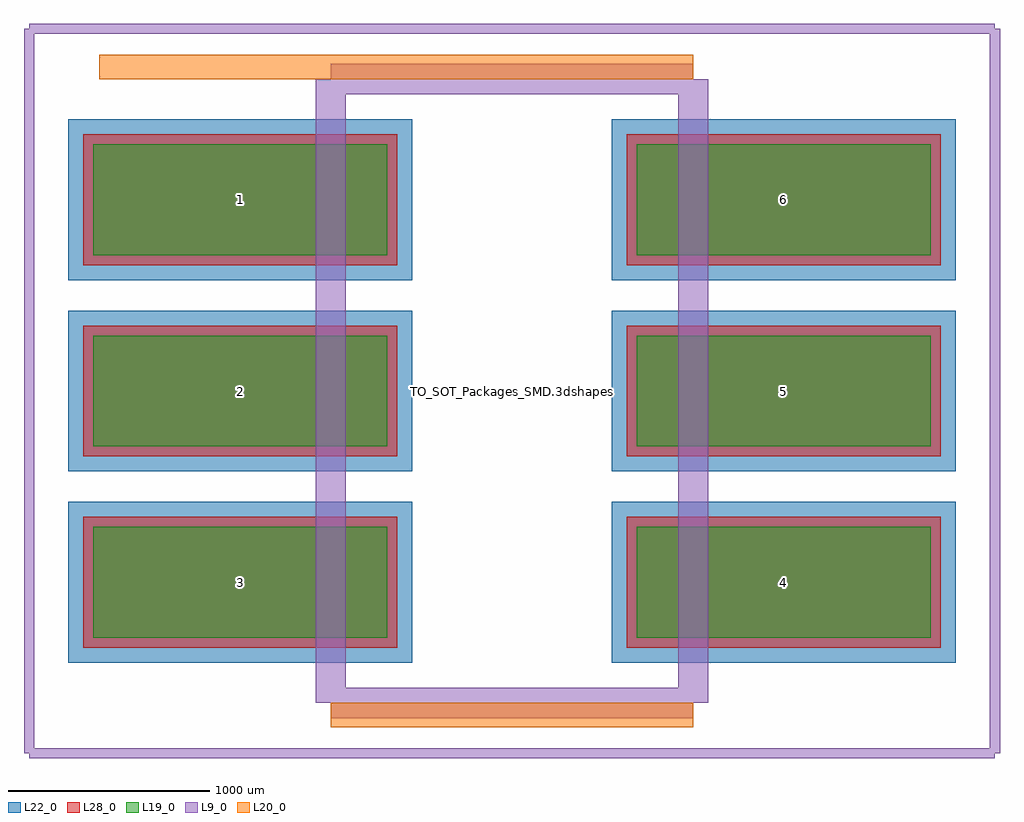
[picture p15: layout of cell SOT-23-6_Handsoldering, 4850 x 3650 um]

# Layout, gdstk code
import gdstk
lib = gdstk.Library(unit=1e-6, precision=1e-09)
def R(c, l, rs):  # rectangles x0, y0, x1, y1
    for r in rs: c.add(gdstk.rectangle(r[:2], r[2:], *l))
def A(c, l, x, y, w, h, nx, ny, dx, dy):  # array of equal rectangles
    R(c, l, [(x+i*dx, y+j*dy, x+i*dx+w, y+j*dy+h) for i in range(nx) for j in range(ny)])
L9_0 = (9, 0)
L19_0 = (19, 0)
L20_0 = (20, 0)
L22_0 = (22, 0)
L28_0 = (28, 0)

sot_23_6_handsoldering = lib.new_cell('SOT-23-6_Handsoldering')
A(sot_23_6_handsoldering, L19_0, -2080, -1225, 1460, 550, 1, 3, 0, 950)
A(sot_23_6_handsoldering, L19_0, 620, -1225, 1460, 550, 1, 3, 0, 950)
A(sot_23_6_handsoldering, L22_0, -2205, -1350, 1710, 800, 1, 3, 0, 950)
A(sot_23_6_handsoldering, L22_0, 495, -1350, 1710, 800, 1, 3, 0, 950)
A(sot_23_6_handsoldering, L28_0, -2130, -1275, 1560, 650, 1, 3, 0, 950)
A(sot_23_6_handsoldering, L28_0, 570, -1275, 1560, 650, 1, 3, 0, 950)
sot_23_6_handsoldering.add(gdstk.FlexPath([(900,1550),(900,-1550)], 149.998, ends="flush", simple_path=True, layer=9, datatype=0))  # L9_0
sot_23_6_handsoldering.add(gdstk.FlexPath([(900,-1550),(-900,-1550)], 149.998, ends="flush", simple_path=True, layer=9, datatype=0))  # L9_0
sot_23_6_handsoldering.add(gdstk.FlexPath([(-900,1550),(-900,-1550)], 149.998, ends="flush", simple_path=True, layer=9, datatype=0))  # L9_0
sot_23_6_handsoldering.add(gdstk.FlexPath([(900,1550),(-900,1550)], 149.998, ends="flush", simple_path=True, layer=9, datatype=0))  # L9_0
sot_23_6_handsoldering.add(gdstk.FlexPath([(-2400,1800),(2400,1800)], 50, ends="flush", simple_path=True, layer=9, datatype=0))  # L9_0
sot_23_6_handsoldering.add(gdstk.FlexPath([(2400,1800),(2400,-1800)], 50, ends="flush", simple_path=True, layer=9, datatype=0))  # L9_0
sot_23_6_handsoldering.add(gdstk.FlexPath([(2400,-1800),(-2400,-1800)], 50, ends="flush", simple_path=True, layer=9, datatype=0))  # L9_0
sot_23_6_handsoldering.add(gdstk.FlexPath([(-2400,-1800),(-2400,1800)], 50, ends="flush", simple_path=True, layer=9, datatype=0))  # L9_0
sot_23_6_handsoldering.add(gdstk.FlexPath([(900,1610),(-2050,1610)], 119.998, ends="flush", simple_path=True, layer=20, datatype=0))  # L20_0
sot_23_6_handsoldering.add(gdstk.FlexPath([(-900,-1610),(900,-1610)], 119.998, ends="flush", simple_path=True, layer=20, datatype=0))  # L20_0
sot_23_6_handsoldering.add(gdstk.Label('TO_SOT_Packages_SMD.3dshapes/SOT-23-6.wrl', (0,0), layer=12, texttype=0))
sot_23_6_handsoldering.add(gdstk.Label('5', (1350,0), layer=28, texttype=0))
sot_23_6_handsoldering.add(gdstk.Label('6', (1350,950), layer=28, texttype=0))
sot_23_6_handsoldering.add(gdstk.Label('4', (1350,-950), layer=28, texttype=0))
sot_23_6_handsoldering.add(gdstk.Label('3', (-1350,-950), layer=28, texttype=0))
sot_23_6_handsoldering.add(gdstk.Label('2', (-1350,0), layer=28, texttype=0))
sot_23_6_handsoldering.add(gdstk.Label('1', (-1350,950), layer=28, texttype=0))
sot_23_6_handsoldering.add(gdstk.Label('type', (0,-2900), layer=9, texttype=0))
sot_23_6_handsoldering.add(gdstk.Label('devicename', (0,2900), layer=9, texttype=0))

lib.write_gds('SOT-23-6_Handsoldering.gds')
